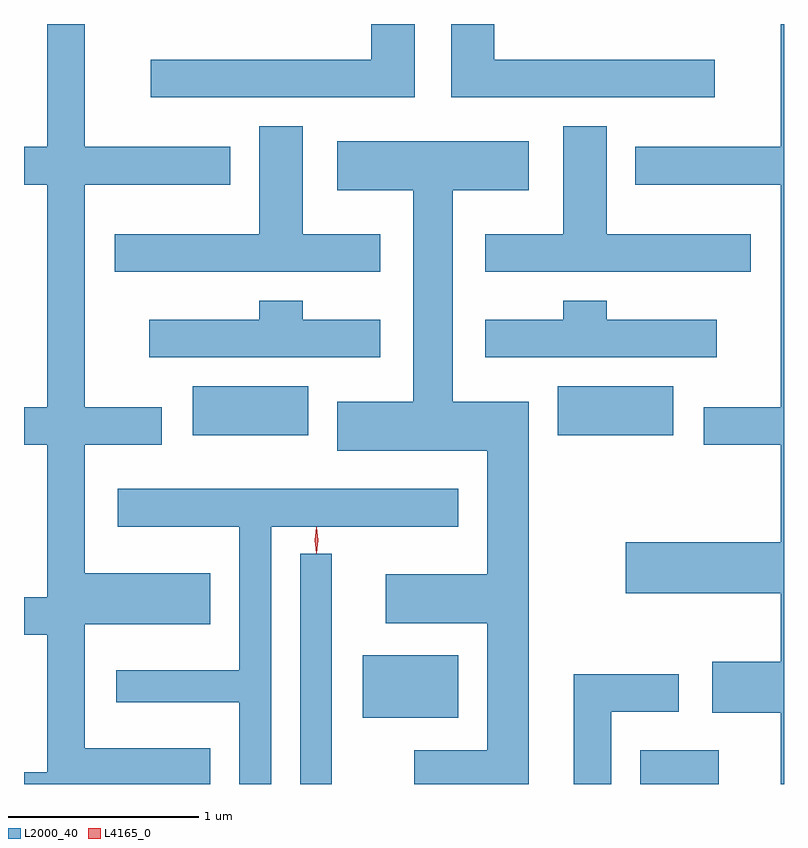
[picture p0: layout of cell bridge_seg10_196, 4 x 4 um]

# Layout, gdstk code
import gdstk
lib = gdstk.Library(unit=1e-6, precision=1e-09)
def R(c, l, rs):  # rectangles x0, y0, x1, y1
    for r in rs: c.add(gdstk.rectangle(r[:2], r[2:], *l))
def P(c, l, *ps):  # polygons
    for p in ps: c.add(gdstk.Polygon(p, *l))
L2000_40 = (2000, 40)
L4165_0 = (4165, 0)

bridge_seg10_196 = lib.new_cell('bridge_seg10_196')
R(bridge_seg10_196, L2000_40, [(1719.681,2140.961,1719.849,2142.173), (1721.471,2140.961,1721.884,2141.139), (1720.011,2141.311,1720.514,2141.639), (1719.116,2142.796,1719.724,2143.054), (1721.036,2142.796,1721.644,2143.054)])
P(bridge_seg10_196, L2000_40, [(1722.228,2144.961),(1722.211,2144.961),(1722.211,2144.314),(1721.446,2144.314),(1721.446,2144.116),(1722.211,2144.116),(1722.211,2142.944),(1721.806,2142.944),(1721.806,2142.746),(1722.211,2142.746),(1722.211,2142.234),(1721.396,2142.234),(1721.396,2141.966),(1722.211,2141.966),(1722.211,2141.604),(1721.851,2141.604),(1721.851,2141.336),(1722.211,2141.336),(1722.211,2140.961),(1722.228,2140.961)],
  [(1721.864,2144.774),(1720.704,2144.774),(1720.704,2144.961),(1720.476,2144.961),(1720.476,2144.576),(1721.864,2144.576)],
  [(1720.284,2144.961),(1720.056,2144.961),(1720.056,2144.774),(1718.896,2144.774),(1718.896,2144.576),(1720.284,2144.576)],
  [(1722.054,2143.854),(1721.294,2143.854),(1721.294,2144.424),(1721.066,2144.424),(1721.066,2143.854),(1720.656,2143.854),(1720.656,2143.656),(1722.054,2143.656)],
  [(1720.104,2143.854),(1719.694,2143.854),(1719.694,2144.424),(1719.466,2144.424),(1719.466,2143.854),(1718.706,2143.854),(1718.706,2143.656),(1720.104,2143.656)],
  [(1720.884,2142.974),(1720.484,2142.974),(1720.484,2144.086),(1720.884,2144.086),(1720.884,2144.344),(1719.876,2144.344),(1719.876,2144.086),(1720.276,2144.086),(1720.276,2142.974),(1719.876,2142.974),(1719.876,2142.716),(1720.666,2142.716),(1720.666,2142.064),(1720.131,2142.064),(1720.131,2141.806),(1720.666,2141.806),(1720.666,2141.139),(1720.281,2141.139),(1720.281,2140.961),(1720.884,2140.961)],
  [(1720.104,2143.404),(1719.694,2143.404),(1719.694,2143.504),(1719.466,2143.504),(1719.466,2143.404),(1718.886,2143.404),(1718.886,2143.206),(1720.104,2143.206)],
  [(1721.874,2143.404),(1721.294,2143.404),(1721.294,2143.504),(1721.066,2143.504),(1721.066,2143.404),(1720.656,2143.404),(1720.656,2143.206),(1721.874,2143.206)],
  [(1719.529,2142.316),(1720.514,2142.316),(1720.514,2142.514),(1718.721,2142.514),(1718.721,2142.316),(1719.361,2142.316),(1719.361,2141.559),(1718.713,2141.559),(1718.713,2141.391),(1719.361,2141.391),(1719.361,2140.961),(1719.529,2140.961)],
  [(1721.319,2141.341),(1721.674,2141.341),(1721.674,2141.539),(1721.121,2141.539),(1721.121,2140.961),(1721.319,2140.961)],
  [(1719.209,2141.801),(1719.209,2142.069),(1718.549,2142.069),(1718.549,2142.746),(1718.954,2142.746),(1718.954,2142.944),(1718.549,2142.944),(1718.549,2144.116),(1719.314,2144.116),(1719.314,2144.314),(1718.549,2144.314),(1718.549,2144.961),(1718.351,2144.961),(1718.351,2144.314),(1718.228,2144.314),(1718.228,2144.116),(1718.351,2144.116),(1718.351,2142.944),(1718.228,2142.944),(1718.228,2142.746),(1718.351,2142.746),(1718.351,2141.944),(1718.228,2141.944),(1718.228,2141.746),(1718.351,2141.746),(1718.351,2141.024),(1718.228,2141.024),(1718.228,2140.961),(1719.209,2140.961),(1719.209,2141.149),(1718.549,2141.149),(1718.549,2141.801)])
P(bridge_seg10_196, L4165_0, [(1719.767,2142.178),(1719.767,2142.178),(1719.757,2142.244),(1719.767,2142.311),(1719.767,2142.311),(1719.768,2142.311),(1719.777,2142.244),(1719.768,2142.178)],
  [(1719.767,2142.174),(1719.767,2142.175),(1719.757,2142.244),(1719.767,2142.313),(1719.767,2142.314),(1719.768,2142.313),(1719.777,2142.244),(1719.768,2142.175)])

lib.write_gds('bridge_seg10_196.gds')
